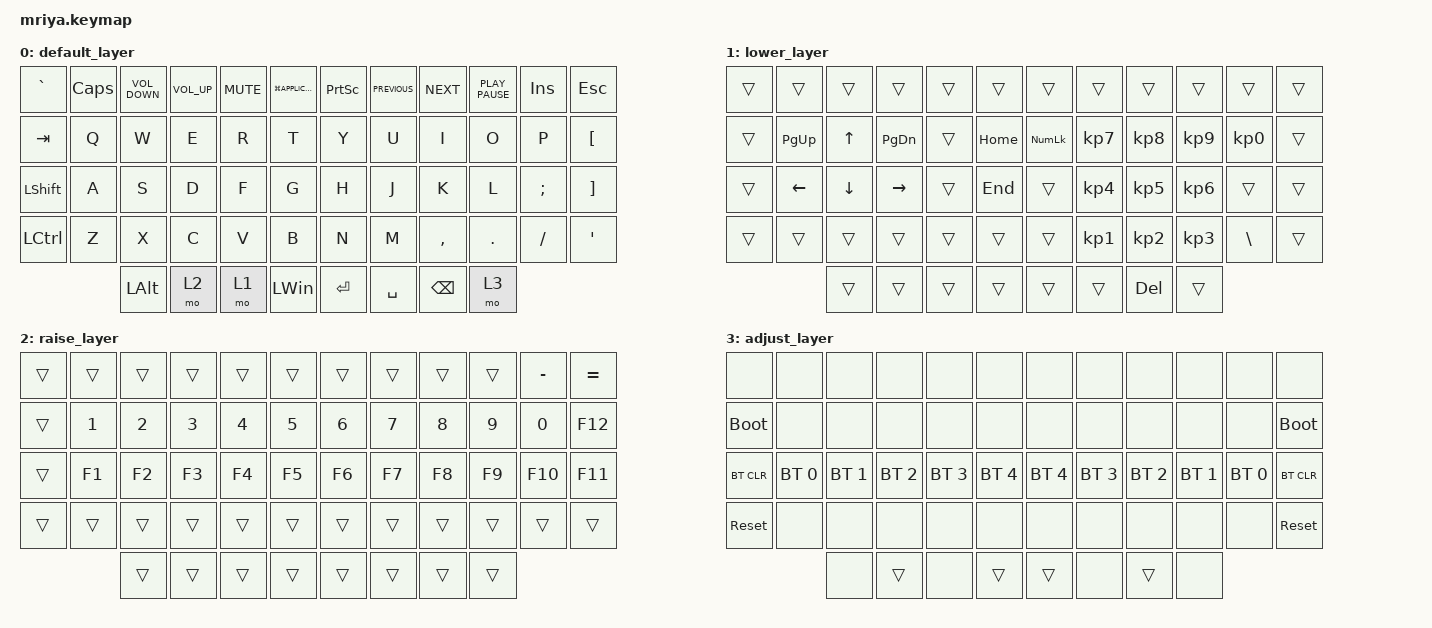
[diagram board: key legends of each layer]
/*
 * Copyright (c) 2023 Andrei Gaevskii
 *
 * SPDX-License-Identifier: MIT
 */

#include <behaviors.dtsi>
#include <dt-bindings/zmk/bt.h>
#include <dt-bindings/zmk/keys.h>

#define DEF 0
#define LWR 1
#define RSE 2
#define ADJ 3

&lt { quick_tap_ms = <200>; };

&mt { quick_tap_ms = <200>; };

/ {
    keymap {
        compatible = "zmk,keymap";

        default_layer {
            bindings = <
  &kp GRAVE   &kp CAPSLOCK  &kp C_VOLUME_DOWN  &kp C_VOLUME_UP  &kp K_MUTE  &kp LG(K_APPLICATION)    &kp PRINTSCREEN  &kp K_PREVIOUS  &kp K_NEXT     &kp K_PLAY_PAUSE  &kp INSERT  &kp ESCAPE
  &kp TAB     &kp Q         &kp W              &kp E            &kp R       &kp T                    &kp Y            &kp U           &kp I          &kp O             &kp P       &kp LBKT
  &kp LSHIFT  &kp A         &kp S              &kp D            &kp F       &kp G                    &kp H            &kp J           &kp K          &kp L             &kp SEMI    &kp RIGHT_BRACKET
  &kp LCTRL   &kp Z         &kp X              &kp C            &kp V       &kp B                    &kp N            &kp M           &kp COMMA      &kp DOT           &kp FSLH    &kp SQT
                            &kp LALT           &mo 2            &mo 1       &kp LWIN                 &kp ENTER        &kp SPACE       &kp BACKSPACE  &mo 3
            >;
        };

        lower_layer {
            bindings = <
  &trans  &trans          &trans          &trans           &trans  &trans      &trans          &trans           &trans           &trans           &trans           &trans
  &trans  &kp PAGE_UP     &kp UP_ARROW    &kp PAGE_DOWN    &trans  &kp HOME    &kp KP_NUMLOCK  &kp KP_NUMBER_7  &kp KP_NUMBER_8  &kp KP_NUMBER_9  &kp KP_NUMBER_0  &trans
  &trans  &kp LEFT_ARROW  &kp DOWN_ARROW  &kp RIGHT_ARROW  &trans  &kp END     &trans          &kp KP_NUMBER_4  &kp KP_NUMBER_5  &kp KP_NUMBER_6  &trans           &trans
  &trans  &trans          &trans          &trans           &trans  &trans      &trans          &kp KP_NUMBER_1  &kp KP_NUMBER_2  &kp KP_NUMBER_3  &kp BSLH         &trans
                          &trans          &trans           &trans  &trans      &trans          &trans           &kp DEL          &trans
            >;
        };

        raise_layer {
            bindings = <
  &trans  &trans        &trans        &trans        &trans        &trans    &trans        &trans  &trans  &trans  &kp MINUS  &kp EQUAL
  &trans  &kp NUMBER_1  &kp NUMBER_2  &kp NUMBER_3  &kp NUMBER_4  &kp N5    &kp NUMBER_6  &kp N7  &kp N8  &kp N9  &kp N0     &kp F12
  &trans  &kp F1        &kp F2        &kp F3        &kp F4        &kp F5    &kp F6        &kp F7  &kp F8  &kp F9  &kp F10    &kp F11
  &trans  &trans        &trans        &trans        &trans        &trans    &trans        &trans  &trans  &trans  &trans     &trans
                        &trans        &trans        &trans        &trans    &trans        &trans  &trans  &trans
            >;
        };

        adjust_layer {
            bindings = <
  &none        &none         &none         &none         &none         &none           &none         &none         &none         &none         &none         &none
  &bootloader  &none         &none         &none         &none         &none           &none         &none         &none         &none         &none         &bootloader
  &bt BT_CLR   &bt BT_SEL 0  &bt BT_SEL 1  &bt BT_SEL 2  &bt BT_SEL 3  &bt BT_SEL 4    &bt BT_SEL 4  &bt BT_SEL 3  &bt BT_SEL 2  &bt BT_SEL 1  &bt BT_SEL 0  &bt BT_CLR
  &sys_reset   &none         &none         &none         &none         &none           &none         &none         &none         &none         &none         &sys_reset
                             &none         &trans        &none         &trans          &trans        &none         &trans        &none
            >;
        };
    };
};
